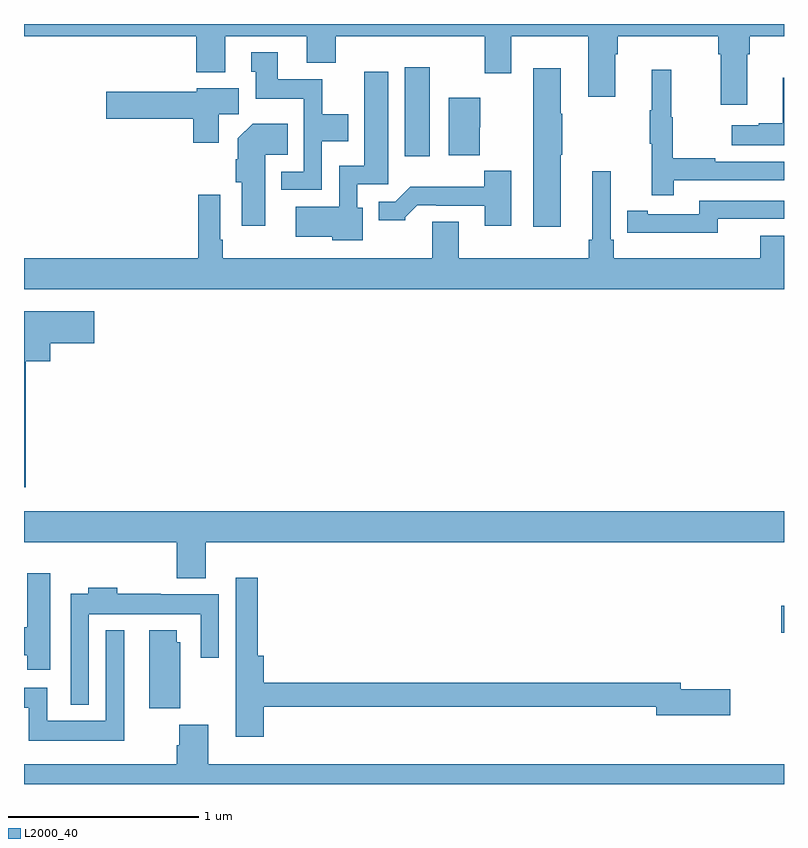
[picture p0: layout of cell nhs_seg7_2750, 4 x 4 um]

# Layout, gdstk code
import gdstk
lib = gdstk.Library(unit=1e-6, precision=1e-09)
def R(c, l, rs):  # rectangles x0, y0, x1, y1
    for r in rs: c.add(gdstk.rectangle(r[:2], r[2:], *l))
def P(c, l, *ps):  # polygons
    for p in ps: c.add(gdstk.Polygon(p, *l))
L2000_40 = (2000, 40)

nhs_seg7_2750 = lib.new_cell('nhs_seg7_2750')
R(nhs_seg7_2750, L2000_40, [(292.986,1010.795,293,1010.937), (291.005,1013.304,291.136,1013.773)])
P(nhs_seg7_2750, L2000_40, [(292.807,1013.84),(292.82,1013.84),(292.82,1013.936),(293,1013.936),(293,1014),(289,1014),(289,1013.936),(289.907,1013.936),(289.907,1013.747),(290.059,1013.747),(290.059,1013.936),(290.489,1013.936),(290.489,1013.795),(290.642,1013.795),(290.642,1013.936),(291.425,1013.936),(291.425,1013.742),(291.565,1013.742),(291.565,1013.936),(291.971,1013.936),(291.971,1013.616),(292.111,1013.616),(292.111,1013.84),(292.124,1013.84),(292.124,1013.936),(292.655,1013.936),(292.655,1013.84),(292.667,1013.84),(292.667,1013.574),(292.807,1013.574)],
  [(290.568,1013.384),(290.707,1013.384),(290.707,1013.524),(290.571,1013.524),(290.571,1013.71),(290.335,1013.71),(290.335,1013.851),(290.195,1013.851),(290.195,1013.748),(290.219,1013.748),(290.219,1013.606),(290.472,1013.606),(290.472,1013.223),(290.355,1013.223),(290.355,1013.127),(290.568,1013.127)],
  [(291.826,1013.311),(291.834,1013.311),(291.834,1013.528),(291.826,1013.528),(291.826,1013.767),(291.68,1013.767),(291.68,1012.932),(291.826,1012.932)],
  [(292.421,1013.178),(293,1013.178),(293,1013.274),(292.637,1013.274),(292.637,1013.294),(292.414,1013.294),(292.414,1013.508),(292.406,1013.508),(292.406,1013.758),(292.304,1013.758),(292.304,1013.545),(292.293,1013.545),(292.293,1013.371),(292.304,1013.371),(292.304,1013.1),(292.421,1013.1)],
  [(290.782,1013.034),(290.754,1013.034),(290.754,1013.157),(290.917,1013.157),(290.917,1013.749),(290.792,1013.749),(290.792,1013.254),(290.658,1013.254),(290.658,1013.038),(290.43,1013.038),(290.43,1012.88),(290.622,1012.88),(290.622,1012.862),(290.782,1012.862)],
  [(293,1013.716),(292.994,1013.716),(292.994,1013.477),(292.868,1013.477),(292.868,1013.467),(292.725,1013.467),(292.725,1013.363),(293,1013.363)],
  [(290.026,1013.524),(290.131,1013.524),(290.131,1013.662),(289.908,1013.662),(289.908,1013.643),(289.434,1013.643),(289.434,1013.501),(289.892,1013.501),(289.892,1013.376),(290.026,1013.376)],
  [(291.398,1013.457),(291.4,1013.457),(291.4,1013.611),(291.236,1013.611),(291.236,1013.309),(291.398,1013.309)],
  [(290.269,1013.312),(290.387,1013.312),(290.387,1013.476),(290.204,1013.476),(290.126,1013.398),(290.126,1013.288),(290.114,1013.288),(290.114,1013.166),(290.147,1013.166),(290.147,1012.938),(290.269,1012.938)],
  [(291.565,1013.227),(291.423,1013.227),(291.423,1013.143),(291.034,1013.143),(290.955,1013.064),(290.867,1013.064),(290.867,1012.967),(291.006,1012.967),(291.006,1012.982),(291.07,1013.046),(291.169,1013.046),(291.169,1013.043),(291.425,1013.043),(291.425,1012.938),(291.565,1012.938)],
  [(293,1012.885),(292.874,1012.885),(292.874,1012.768),(292.103,1012.768),(292.103,1012.864),(292.089,1012.864),(292.089,1013.224),(291.992,1013.224),(291.992,1012.864),(291.973,1012.864),(291.973,1012.768),(291.289,1012.768),(291.289,1012.958),(291.149,1012.958),(291.149,1012.768),(290.047,1012.768),(290.047,1012.864),(290.034,1012.864),(290.034,1013.101),(289.918,1013.101),(289.918,1012.768),(289,1012.768),(289,1012.604),(293,1012.604)],
  [(292.65,1012.974),(293,1012.974),(293,1013.07),(292.554,1013.07),(292.554,1012.998),(292.282,1012.998),(292.282,1013.018),(292.174,1013.018),(292.174,1012.902),(292.282,1012.902),(292.282,1012.901),(292.65,1012.901)],
  [(289.009,1012.226),(289.138,1012.226),(289.138,1012.319),(289.369,1012.319),(289.369,1012.489),(289,1012.489),(289,1011.561),(289.009,1011.561)],
  [(289.957,1011.272),(293,1011.272),(293,1011.436),(289,1011.436),(289,1011.272),(289.805,1011.272),(289.805,1011.083),(289.957,1011.083)],
  [(289.138,1011.109),(289.016,1011.109),(289.016,1010.826),(289,1010.826),(289,1010.678),(289.016,1010.678),(289.016,1010.601),(289.138,1010.601)],
  [(290.261,1010.406),(292.328,1010.406),(292.328,1010.363),(292.717,1010.363),(292.717,1010.498),(292.456,1010.498),(292.456,1010.534),(290.261,1010.534),(290.261,1010.674),(290.231,1010.674),(290.231,1011.085),(290.115,1011.085),(290.115,1010.511),(290.114,1010.511),(290.114,1010.25),(290.261,1010.25)],
  [(289.341,1010.894),(289.929,1010.894),(289.929,1010.664),(290.025,1010.664),(290.025,1010.998),(289.721,1010.998),(289.721,1011.001),(289.49,1011.001),(289.49,1011.034),(289.337,1011.034),(289.337,1011.001),(289.245,1011.001),(289.245,1010.417),(289.341,1010.417)],
  [(289.822,1010.745),(289.804,1010.745),(289.804,1010.809),(289.658,1010.809),(289.658,1010.398),(289.822,1010.398)],
  [(289.528,1010.809),(289.431,1010.809),(289.431,1010.332),(289.122,1010.332),(289.122,1010.506),(289,1010.506),(289,1010.402),(289.025,1010.402),(289.025,1010.228),(289.528,1010.228)],
  [(293,1010.104),(289.97,1010.104),(289.97,1010.313),(289.817,1010.313),(289.817,1010.204),(289.805,1010.204),(289.805,1010.104),(289,1010.104),(289,1010),(293,1010)])

lib.write_gds('nhs_seg7_2750.gds')
